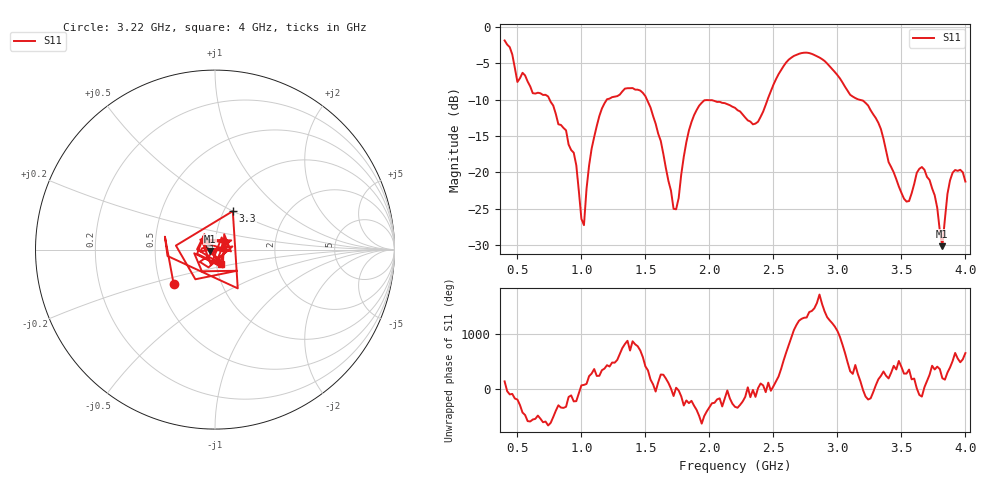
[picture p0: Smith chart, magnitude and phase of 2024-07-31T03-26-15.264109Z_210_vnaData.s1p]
!Created with skrf (http://scikit-rf.org).
# Hz S RI R 50.0
!freq ReS11 ImS11
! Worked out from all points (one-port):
!   181 points, 400 MHz to 4 GHz, reference 50 ohm
!   lowest |S11| = -30.2 dB at 3.82 GHz (marker M1), VSWR 1.06, Z = 47.1 - j0.717 ohm
!   |S11| at or under -10 dB: 751.8 MHz to 1.198 GHz (446.4 MHz wide, 45.8 % of centre); 1.512 GHz to 2.454 GHz (942.1 MHz wide, 47.5 % of centre); 3.171 GHz to end of sweep
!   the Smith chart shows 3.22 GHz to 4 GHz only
!   S11 on the Smith chart (normalised r, x): 3.22 GHz: 0.59, -0.25; 3.3 GHz: 1.10, +0.50; 4 GHz: 1.05, -0.17
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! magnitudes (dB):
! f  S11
! 400 MHz  -1.8
! 500 MHz  -7.6
! 740 MHz  -9.6
! 860 MHz  -13.9
! 940 MHz  -17.3
! 1.02 GHz  -27.3
! 1.06 GHz  -19.1
! 1.14 GHz  -12.3
! 1.3 GHz  -9.3
! 1.5 GHz  -9.5
! 1.62 GHz  -15.7
! 1.72 GHz  -25.0
! 1.76 GHz  -23.5
! 1.84 GHz  -14.2
! 1.92 GHz  -10.8
! 2.2 GHz  -11.1
! 2.38 GHz  -13.0
! 2.66 GHz  -4.0
! 2.88 GHz  -4.4
! 3.1 GHz  -9.3
! 3.22 GHz  -10.4
! 3.3 GHz  -12.5
! 3.56 GHz  -24.0
! 3.68 GHz  -19.7
! 3.76 GHz  -23.2
! 3.82 GHz  -30.2
! 3.9 GHz  -20.1
! 4 GHz  -21.3
